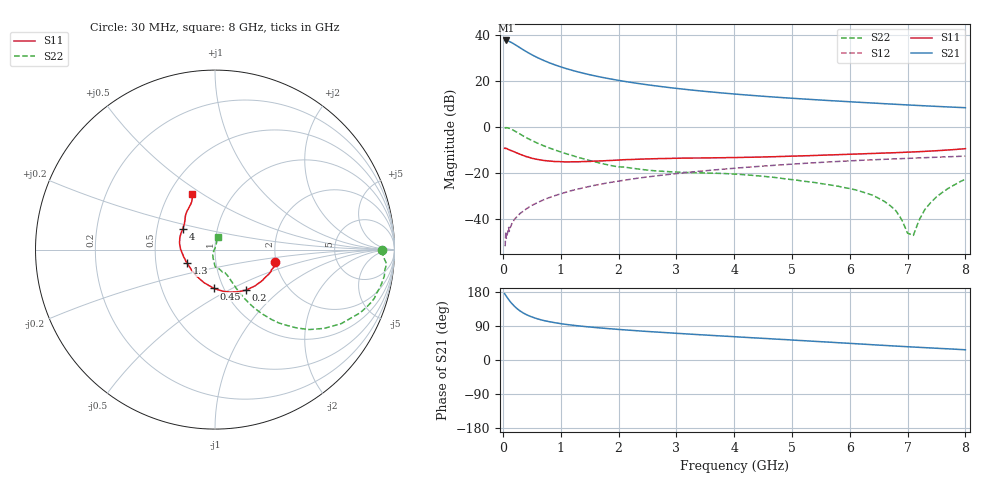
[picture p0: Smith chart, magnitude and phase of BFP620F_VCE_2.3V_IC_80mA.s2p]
! Infineon Technologies  Discrete & RF Semiconductors
! BFP620F
! VCE =  2.3 V,  IC =  80 mA
! Common Emitter S-Parameters:  Dec 2014
# GHz  S  MA  R  50
!  f  S11  S21  S12  S22
! GHz  MAG  ANG  MAG  ANG  MAG  ANG  MAG  ANG
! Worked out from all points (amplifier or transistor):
!   95 points, 30 MHz to 8 GHz, reference 50 ohm
!   highest |S21| = 37.6 dB at 50 MHz (marker M1)
!   |S21| within 3 dB of that: start of sweep to 285.4 MHz
!   unconditionally stable (mu >= 1): 1.567 GHz to end of sweep
!   at 300 MHz: K = 0.58, MSG = 36.1 dB, |S12| = -37.7 dB
!   at 3.3 GHz: K = 1.04, MAG = 16.6 dB, |S12| = -19.6 dB
!   at 8 GHz: K = 1.06, MAG = 9.1 dB, |S12| = -12.8 dB
!   S11 on the Smith chart (normalised r, x): 30 MHz: 1.97, -0.30; 200 MHz: 1.25, -0.61; 450 MHz: 0.90, -0.41; 1.3 GHz: 0.72, -0.11; 4 GHz: 0.68, +0.16; 8 GHz: 0.65, +0.45
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0.03  0.3403 -11.6  75.85 175.1  0.0025 112.5  0.9283 -0.3
0.05  0.3427 -16.6  76.15 170.5  0.0052 91.9  0.9597 -4.8
0.08  0.329 -24.9  75.06 163.7  0.0048 86.5  0.9479 -11.4
0.12  0.3115 -35.1  71.47 155.4  0.006 83.4  0.9173 -18.8
0.15  0.3016 -42.0  68.57 149.9  0.0075 77.6  0.8811 -23.6
0.2  0.2841 -52.7  62.94 141.8  0.0096 77.6  0.8152 -30.4
0.25  0.2663 -62.1  57.55 134.9  0.0112 77.2  0.7504 -35.8
0.3  0.2513 -70.4  52.48 129.2  0.013 76.3  0.6887 -40.3
0.35  0.2374 -78.4  47.84 124.3  0.0144 74.8  0.6327 -43.7
0.45  0.2163 -91.3  40.35 116.7  0.0177 75.0  0.5414 -49.0
0.6  0.1941 -108.3  32.09 108.5  0.0223 74.5  0.4386 -54.0
0.8  0.1796 -125.3  24.92 101.2  0.0285 74.6  0.3468 -57.8
1  0.1737 -138.8  20.25 95.9  0.0346 73.5  0.2835 -60.0
1.3  0.1725 -154.6  15.71 90.2  0.0439 72.8  0.2162 -62.0
1.4  0.1749 -158.7  14.62 88.6  0.0471 72.3  0.1998 -62.6
1.9  0.1855 -175.5  10.81 81.9  0.0625 70.1  0.1403 -66.5
2.7  0.2025 167.3  7.634 73.4  0.0866 65.3  0.1085 -78.7
4  0.2132 147.5  5.185 61.5  0.1246 57.3  0.0931 -89.4
4.1  0.2147 146.4  5.063 60.6  0.1275 56.7  0.0916 -89.8
5.4  0.2373 134.7  3.892 49.2  0.1648 47.9  0.0609 -97.2
6.7  0.2703 123.7  3.138 37.6  0.1979 38.7  0.0191 -120.5
8  0.3333 112.4  2.605 27.0  0.2293 29.9  0.0722 78.4
